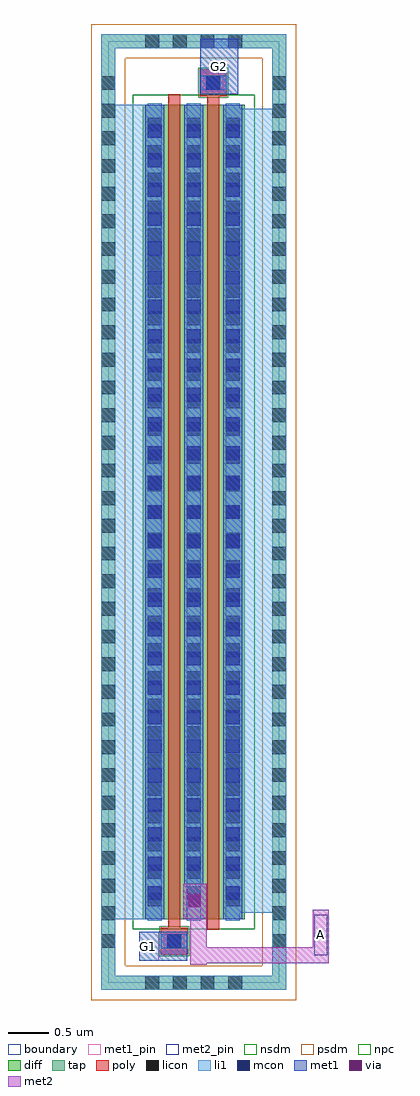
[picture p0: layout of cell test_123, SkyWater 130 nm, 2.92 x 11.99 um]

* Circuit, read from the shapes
.subckt test_123 A G1 G2
XM1 A G1 VSUBS VSUBS sky130_fd_pr__nfet_01v8 w=10 l=0.15
XM2 VSUBS G2 A VSUBS sky130_fd_pr__nfet_01v8 w=10 l=0.15
.ends

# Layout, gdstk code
import gdstk
lib = gdstk.Library(unit=1e-6, precision=1e-09)
def R(c, l, rs):  # rectangles x0, y0, x1, y1
    for r in rs: c.add(gdstk.rectangle(r[:2], r[2:], *l))
def A(c, l, x, y, w, h, nx, ny, dx, dy):  # array of equal rectangles
    R(c, l, [(x+i*dx, y+j*dy, x+i*dx+w, y+j*dy+h) for i in range(nx) for j in range(ny)])
diff = (65, 20)
tap = (65, 44)
poly = (66, 20)
licon = (66, 44)
li1 = (67, 20)
mcon = (67, 44)
met1_pin = (68, 16)
met1 = (68, 20)
via = (68, 44)
met2_pin = (69, 16)
met2 = (69, 20)
nsdm = (93, 44)
psdm = (94, 20)
npc = (95, 20)
boundary = (235, 4)

sky130_fd_pr__nfet_01v8_ = lib.new_cell('sky130_fd_pr__nfet_01v8_FPZFGB')
R(sky130_fd_pr__nfet_01v8_, diff, [(-0.625,-5,0.625,5)])
R(sky130_fd_pr__nfet_01v8_, tap, [(-1.135,-5.87,1.135,-5.7), (-1.135,-5.7,-0.965,5.7), (0.965,-5.7,1.135,5.7), (-1.135,5.7,1.135,5.87)])
R(sky130_fd_pr__nfet_01v8_, poly, [(-0.405,-5.44,-0.075,-5.11), (0.165,-5.13,0.315,5.11), (-0.315,-5.11,-0.165,5.13), (0.075,5.11,0.405,5.44)])
A(sky130_fd_pr__nfet_01v8_, licon, -0.595, -5.87, 0.17, 0.17, 4, 2, 0.34, 11.57)
A(sky130_fd_pr__nfet_01v8_, licon, -1.135, -5.355, 0.17, 0.17, 1, 32, 0, 0.34)
A(sky130_fd_pr__nfet_01v8_, licon, 0.965, -5.355, 0.17, 0.17, 1, 32, 0, 0.34)
A(sky130_fd_pr__nfet_01v8_, licon, -0.565, -4.845, 0.17, 0.17, 3, 29, 0.48, 0.34)
R(sky130_fd_pr__nfet_01v8_, licon, [(-0.325,-5.36,-0.155,-5.19), (0.155,5.19,0.325,5.36)])
A(sky130_fd_pr__nfet_01v8_, li1, -0.565, -5.02, 0.17, 10.04, 3, 1, 0.48, 0)
R(sky130_fd_pr__nfet_01v8_, li1, [(-1.135,-5.87,1.135,-5.7), (-1.135,-5.7,-0.965,5.7), (0.965,-5.7,1.135,5.7), (-0.405,-5.36,-0.075,-5.19), (0.075,5.19,0.405,5.36), (-1.135,5.7,1.135,5.87)])
A(sky130_fd_pr__nfet_01v8_, mcon, -0.565, -4.765, 0.17, 0.17, 3, 27, 0.48, 0.36)
R(sky130_fd_pr__nfet_01v8_, mcon, [(-0.325,-5.36,-0.155,-5.19), (0.155,5.19,0.325,5.36)])
A(sky130_fd_pr__nfet_01v8_, met1, -0.595, -5, 0.23, 10, 3, 1, 0.48, 0)
R(sky130_fd_pr__nfet_01v8_, met1, [(-0.385,-5.39,-0.095,-5.16), (0.095,5.16,0.385,5.39)])
R(sky130_fd_pr__nfet_01v8_, nsdm, [(-0.75,-5.125,0.75,5.125)])
R(sky130_fd_pr__nfet_01v8_, psdm, [(-1.26,-5.995,1.26,-5.575), (-1.26,-5.575,-0.84,5.575), (0.84,-5.575,1.26,5.575), (-1.26,5.575,1.26,5.995)])
R(sky130_fd_pr__nfet_01v8_, npc, [(-0.425,-5.46,-0.055,-5.09), (0.055,5.09,0.425,5.46)])
R(sky130_fd_pr__nfet_01v8_, boundary, [(-1.05,-5.785,1.05,5.785)])

test_123 = lib.new_cell('test_123')
R(test_123, li1, [(0.05,0.75,0.61,10.76), (1.46,0.83,2.07,10.71)])
R(test_123, met1_pin, [(0.37,0.24,0.61,0.6), (1.12,10.89,1.59,11.57)])
R(test_123, met1, [(0.37,0.24,0.96,0.6), (0.91,0.76,1.2,1.19), (1.12,10.89,1.59,11.57)])
R(test_123, via, [(0.975,0.9,1.125,1.05)])
R(test_123, met2_pin, [(2.52,0.31,2.68,0.81)])
R(test_123, met2, [(1,0.19,1.2,0.21), (1,0.21,2.7,0.41), (1,0.41,1.2,0.76), (2.5,0.41,2.7,0.87), (0.91,0.76,1.2,1.19)])
test_123.add(gdstk.Reference(sky130_fd_pr__nfet_01v8_, (1.04,5.755)))
test_123.add(gdstk.Label('G1', (0.49,0.42), layer=68, texttype=16))
test_123.add(gdstk.Label('A', (2.6,0.56), layer=69, texttype=16))
test_123.add(gdstk.Label('G2', (1.355,11.23), layer=68, texttype=16))

lib.write_gds('test_123.gds')
